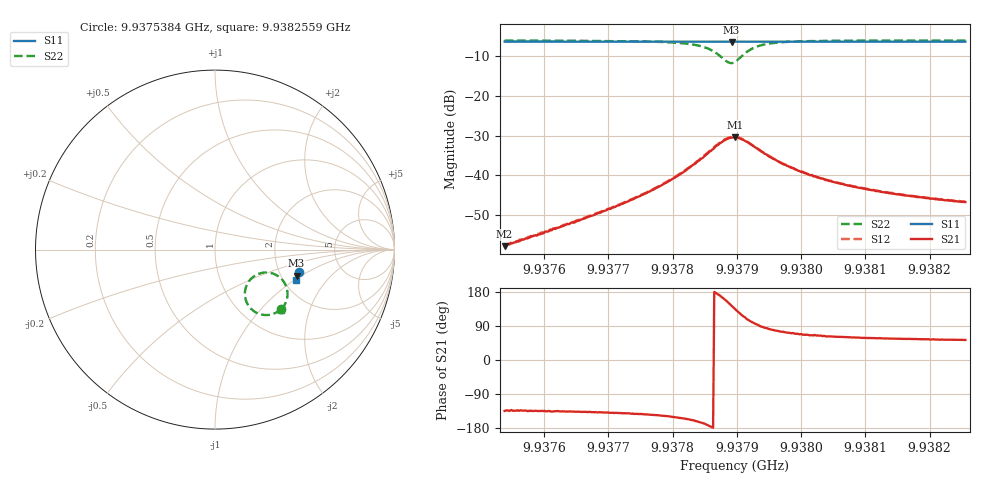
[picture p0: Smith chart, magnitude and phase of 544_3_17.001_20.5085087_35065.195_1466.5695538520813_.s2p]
#  HZ  S  RI  R  50.00
! Rohde & Schwarz Vector Network Analyzer
! Rohde-Schwarz,ZNB20-2Port,1311601062101988,3.16
! Created: UTC 3/20/2024, 11:16:26 PM
! freq[Hz]  re:S11  im:S11  re:S21  im:S21  re:S12  im:S12  re:S22  im:S22
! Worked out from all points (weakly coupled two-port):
!   401 points, 9.9375384 GHz to 9.9382559 GHz, reference 50 ohm
!   highest |S21| = -30.46 dB at 9.9378971 GHz (marker M1); lowest = -57.8 dB at 9.9375384 GHz (marker M2)
!   lowest |S11| = -6.4 dB at 9.9378918 GHz (marker M3), VSWR 2.83, Z = 121 - j45.7 ohm
!   |S11| at or under -10 dB: nowhere
!   |S22| runs from -11.8 to -6.1 dB; largest |S21 - S12| = 0.0012
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9.93753838e9  0.4663 -0.1239  -0.000901 -0.000921  -0.000898 -0.00097  0.3676 -0.3331
9.93765857e9  0.4636 -0.1321  -0.00204 -0.00191  -0.00209 -0.00191  0.3512 -0.345
9.93772673e9  0.4618 -0.1369  -0.00355 -0.00289  -0.00362 -0.00289  0.335 -0.354
9.93777875e9  0.4604 -0.1403  -0.00598 -0.00405  -0.00616 -0.00398  0.3111 -0.3618
9.93780565e9  0.4593 -0.1421  -0.00845 -0.00464  -0.00867 -0.00457  0.2895 -0.3646
9.93782359e9  0.4586 -0.1434  -0.0111 -0.00496  -0.0113 -0.00477  0.2678 -0.3636
9.93785229e9  0.457 -0.1453  -0.018 -0.00301  -0.0185 -0.00277  0.2132 -0.3407
9.93786485e9  0.4561 -0.1459  -0.022 8.46e-05  -0.0228 0.000859  0.1838 -0.308
9.93787561e9  0.4554 -0.1458  -0.0252 0.00582  -0.0258 0.00659  0.1674 -0.2596
9.93788458e9  0.455 -0.1457  -0.0259 0.0123  -0.026 0.0133  0.1731 -0.207
9.93789175e9  0.4548 -0.1454  -0.0239 0.0178  -0.0239 0.019  0.1974 -0.1662
9.93789713e9  0.4549 -0.1453  -0.0211 0.0213  -0.0207 0.0224  0.2256 -0.1437
9.9379061e9  0.4553 -0.1453  -0.0148 0.0248  -0.0141 0.0255  0.28 -0.1276
9.93791866e9  0.456 -0.146  -0.00666 0.0247  -0.00593 0.025  0.3431 -0.1426
9.93793839e9  0.4565 -0.1476  0.000708 0.0199  0.00119 0.0199  0.3904 -0.1908
9.93797068e9  0.4563 -0.1504  0.00372 0.0135  0.00409 0.0135  0.4039 -0.2467
9.937994e9  0.4559 -0.1522  0.00409 0.0109  0.00449 0.0108  0.4018 -0.2696
9.93801732e9  0.4551 -0.1538  0.00421 0.0092  0.00431 0.00905  0.3978 -0.285
9.9380801e9  0.4537 -0.1581  0.00368 0.00626  0.00387 0.00627  0.387 -0.3086
9.9381375e9  0.4521 -0.1622  0.00327 0.00497  0.00341 0.00503  0.3794 -0.3204
9.93820387e9  0.4501 -0.1664  0.00299 0.00417  0.00309 0.00411  0.3723 -0.3298
9.93825588e9  0.4487 -0.1697  0.00278 0.00368  0.00287 0.00373  0.3672 -0.3353
